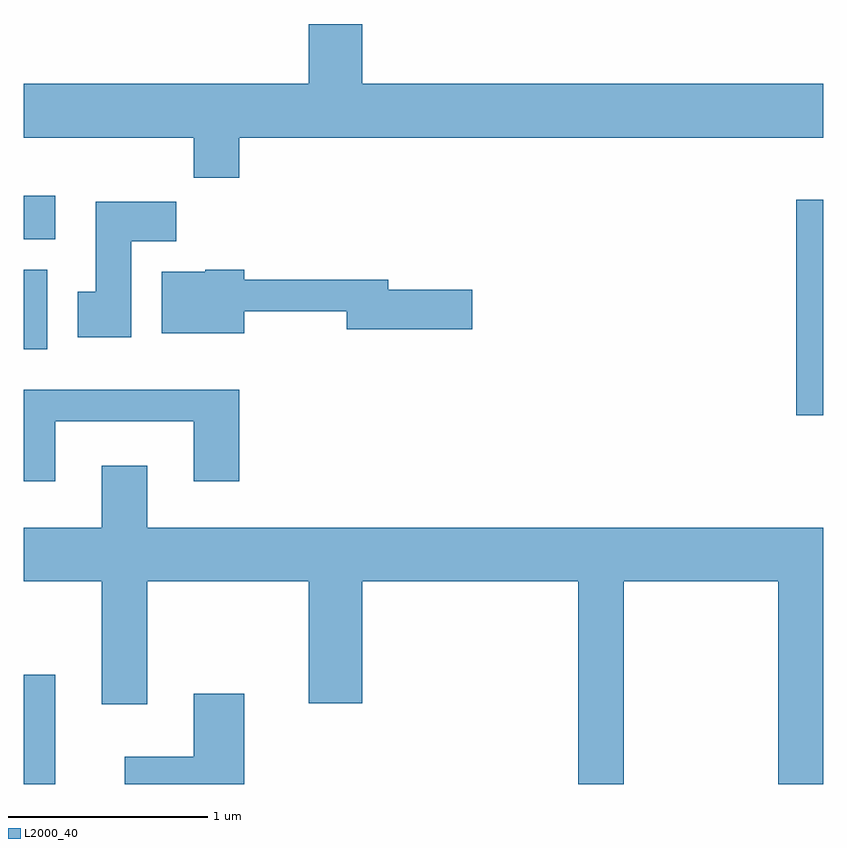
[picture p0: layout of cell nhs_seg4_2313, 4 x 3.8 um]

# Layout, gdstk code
import gdstk
lib = gdstk.Library(unit=1e-6, precision=1e-09)
def R(c, l, rs):  # rectangles x0, y0, x1, y1
    for r in rs: c.add(gdstk.rectangle(r[:2], r[2:], *l))
def P(c, l, *ps):  # polygons
    for p in ps: c.add(gdstk.Polygon(p, *l))
L2000_40 = (2000, 40)

nhs_seg4_2313 = lib.new_cell('nhs_seg4_2313')
R(nhs_seg4_2313, L2000_40, [(253.611,1255.982,253.769,1256.529), (257.476,1257.826,257.611,1258.904), (253.611,1258.156,253.729,1258.554), (253.611,1258.706,253.769,1258.924)])
P(nhs_seg4_2313, L2000_40, [(254.689,1259.216),(257.611,1259.216),(257.611,1259.484),(255.304,1259.484),(255.304,1259.784),(255.036,1259.784),(255.036,1259.484),(253.611,1259.484),(253.611,1259.216),(254.461,1259.216),(254.461,1259.016),(254.689,1259.016)],
  [(254.149,1258.696),(254.374,1258.696),(254.374,1258.894),(253.971,1258.894),(253.971,1258.444),(253.881,1258.444),(253.881,1258.216),(254.149,1258.216)],
  [(254.714,1258.346),(255.226,1258.346),(255.226,1258.256),(255.854,1258.256),(255.854,1258.454),(255.434,1258.454),(255.434,1258.504),(254.714,1258.504),(254.714,1258.554),(254.52,1258.554),(254.52,1258.544),(254.301,1258.544),(254.301,1258.236),(254.714,1258.236)],
  [(253.769,1257.796),(254.461,1257.796),(254.461,1257.496),(254.689,1257.496),(254.689,1257.954),(253.611,1257.954),(253.611,1257.496),(253.769,1257.496)],
  [(256.614,1256.996),(257.386,1256.996),(257.386,1255.982),(257.611,1255.982),(257.611,1257.264),(254.229,1257.264),(254.229,1257.574),(254.001,1257.574),(254.001,1257.264),(253.611,1257.264),(253.611,1256.996),(254.001,1256.996),(254.001,1256.381),(254.229,1256.381),(254.229,1256.996),(255.036,1256.996),(255.036,1256.386),(255.304,1256.386),(255.304,1256.996),(256.386,1256.996),(256.386,1255.982),(256.614,1255.982)],
  [(254.714,1256.434),(254.461,1256.434),(254.461,1256.119),(254.116,1256.119),(254.116,1255.982),(254.714,1255.982)])

lib.write_gds('nhs_seg4_2313.gds')
